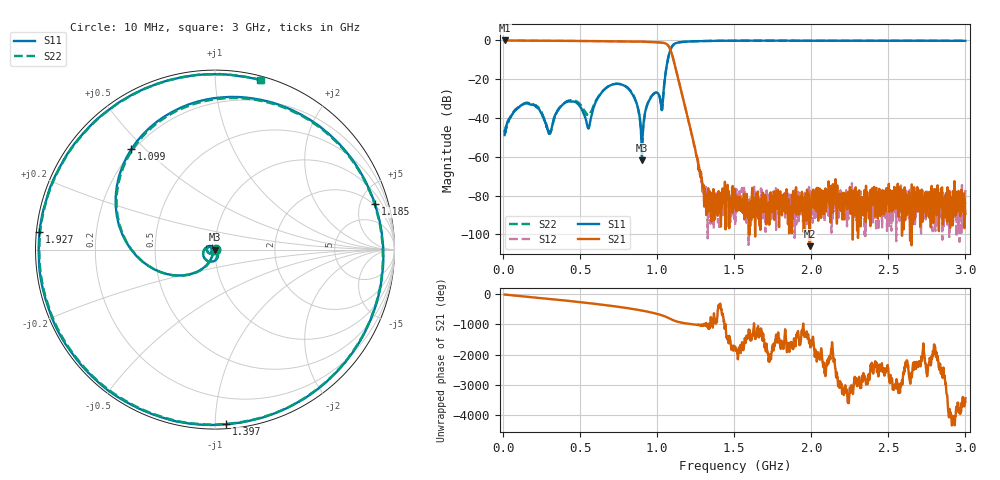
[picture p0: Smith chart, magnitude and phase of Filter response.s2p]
!Keysight Technologies,N5242B,US58420760,A.14.80.03
!Date: Tuesday, March 01, 2022 13:26:08
!Correction: S11(C  2-Port  )
!S21(C  2-Port  )
!S12(C  2-Port  )
!S22(C  2-Port  )
!S2P File: Measurements: S11, S21, S12, S22:
# Hz S  dB  R 50
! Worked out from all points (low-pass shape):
!   1601 points, 10 MHz to 3 GHz, reference 50 ohm
!   highest |S21| = -0.04 dB at 10 MHz (marker M1); lowest = -106.1 dB at 1.989 GHz (marker M2)
!   |S21| within 3 dB of the highest: start of sweep to 1.075 GHz
!   lowest |S11| = -61.8 dB at 901.4 MHz (marker M3), VSWR 1.00, Z = 50.1 - j0.0306 ohm
!   |S11| at or under -10 dB: start of sweep to 1.069 GHz
!   |S22| runs from -54.1 to -0.2 dB; largest |S21 - S12| = 0.0071
!   S11 on the Smith chart (normalised r, x): 10 MHz: 1.01, +0.00; 1.099 GHz: 0.19, +0.45; 1.185 GHz: 1.86, +6.67; 1.397 GHz: 0.03, -1.07; 1.927 GHz: 0.01, +0.05; 3 GHz: 0.03, +1.30
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1e7  -48.85 14.1  -0.04 -5.3  -0.04 -4.9  -46.31 -16.8
2.099562e8  -33.98 -165.3  -0.17 -104.7  -0.18 -104.7  -33.55 -161.0
2.996562e8  -48.09 -133.8  -0.21 -150.4  -0.21 -150.4  -46.98 -134.8
3.61325e8  -35.58 -89.6  -0.24 177.5  -0.24 177.5  -35.06 -86.7
5.089562e8  -35.35 -151.3  -0.30 97.0  -0.31 97.0  -33.99 -134.3
5.55675e8  -45.37 -95.8  -0.33 70.0  -0.33 70.1  -38.23 -104.8
6.846188e8  -23.61 -97.7  -0.42 -9.9  -0.42 -9.9  -23.63 -99.6
8.004812e8  -24.04 -176.1  -0.52 -92.0  -0.53 -92.1  -23.84 -171.6
9.013938e8  -61.80 -22.1  -0.65 -178.2  -0.65 -178.2  -54.05 -170.1
1.007912e9  -27.53 160.3  -1.00 59.9  -0.99 59.9  -27.65 164.7
1.049025e9  -20.28 -118.1  -1.43 -8.7  -1.44 -8.8  -20.36 -116.7
1.099481e9  -2.76 129.9  -8.19 -130.0  -8.18 -130.0  -2.80 129.0
1.13125e9  -1.19 73.4  -18.14 172.7  -18.14 172.7  -1.22 71.6
1.185444e9  -0.66 15.9  -35.70 115.1  -35.74 115.1  -0.67 13.4
1.306912e9  -0.31 -54.2  -76.15 86.5  -82.70 30.3  -0.31 -56.7
1.396612e9  -0.21 -86.3  -82.74 -23.2  -89.63 115.7  -0.24 -88.5
1.505e9  -0.16 -115.2  -86.24 71.3  -86.34 98.2  -0.19 -117.0
1.927338e9  -0.15 174.2  -81.47 122.2  -83.81 -13.9  -0.19 173.4
1.989006e9  -0.17 166.6  -106.13 153.7  -85.47 67.8  -0.19 165.9
2.003956e9  -0.17 164.8  -78.78 158.9  -85.26 95.0  -0.19 164.2
2.502912e9  -0.19 114.7  -73.98 128.1  -83.47 116.4  -0.20 114.5
3e9  -0.21 75.1  -89.46 149.0  -76.97 67.8  -0.20 74.9
